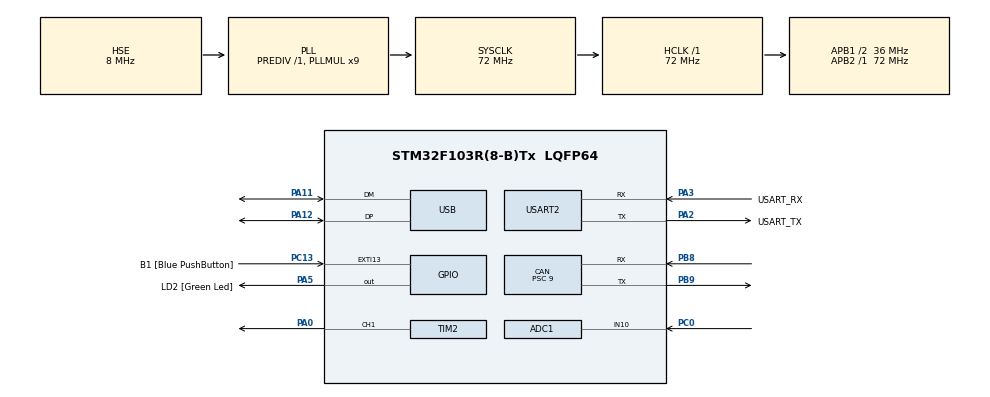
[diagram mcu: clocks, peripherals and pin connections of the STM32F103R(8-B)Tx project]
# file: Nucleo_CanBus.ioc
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ADC1.Channel-0\#ChannelRegularConversion=ADC_CHANNEL_10
ADC1.NbrOfConversion=1
ADC1.NbrOfConversionFlag=1
ADC1.Rank-0\#ChannelRegularConversion=1
ADC1.SamplingTime-0\#ChannelRegularConversion=ADC_SAMPLETIME_1CYCLE_5
ADC1.master=1
CAN.BS1=CAN_BS1_3TQ
CAN.BS2=CAN_BS2_4TQ
CAN.CalculateBaudRate=500000
CAN.CalculateTimeBit=2000.00
CAN.CalculateTimeQuantum=250.0
CAN.Prescaler=9
Mcu.Family=STM32F1
Mcu.Name=STM32F103R(8-B)Tx
Mcu.Package=LQFP64
NVIC.EXTI15_10_IRQn=true\:0\:0\:false\:false\:true\:true\:true
NVIC.PriorityGroup=NVIC_PRIORITYGROUP_4
NVIC.USART2_IRQn=true\:0\:0\:false\:false\:true\:true\:true
NVIC.USB_LP_CAN1_RX0_IRQn=true\:0\:0\:false\:false\:true\:false\:true
PA0-WKUP.Signal=S_TIM2_CH1_ETR
PA11.Mode=Device
PA11.Signal=USB_DM
PA12.Mode=Device
PA12.Signal=USB_DP
PA13.GPIO_Label=TMS
PA13.Mode=Serial_Wire
PA13.Signal=SYS_JTMS-SWDIO
PA14.GPIO_Label=TCK
PA14.Mode=Serial_Wire
PA14.Signal=SYS_JTCK-SWCLK
PA2.GPIO_Label=USART_TX
PA2.GPIO_Mode=GPIO_MODE_AF_PP
PA2.GPIO_PuPd=GPIO_NOPULL
PA2.GPIO_Speed=GPIO_SPEED_FREQ_LOW
PA2.Mode=Asynchronous
PA2.Signal=USART2_TX
PA3.GPIO_Label=USART_RX
PA3.GPIO_Mode=GPIO_MODE_AF_PP
PA3.GPIO_PuPd=GPIO_NOPULL
PA3.GPIO_Speed=GPIO_SPEED_FREQ_LOW
PA3.Mode=Asynchronous
PA3.Signal=USART2_RX
PA5.GPIO_Label=LD2 [Green Led]
PA5.GPIO_ModeDefaultOutputPP=GPIO_MODE_OUTPUT_PP
PA5.GPIO_PuPd=GPIO_NOPULL
PA5.GPIO_Speed=GPIO_SPEED_FREQ_LOW
PA5.Signal=GPIO_Output
PB3.GPIO_Label=SWO
PB3.Signal=SYS_JTDO-TRACESWO
PB8.Mode=CAN_Activate
PB8.Signal=CAN_RX
PB9.Mode=CAN_Activate
PB9.Signal=CAN_TX
PC0.Signal=ADCx_IN10
PC13-TAMPER-RTC.GPIO_Label=B1 [Blue PushButton]
PC13-TAMPER-RTC.GPIO_PuPd=GPIO_NOPULL
PC13-TAMPER-RTC.Signal=GPXTI13
PC14-OSC32_IN.Mode=LSE-External-Oscillator
PC14-OSC32_IN.Signal=RCC_OSC32_IN
PC15-OSC32_OUT.Mode=LSE-External-Oscillator
PC15-OSC32_OUT.Signal=RCC_OSC32_OUT
PD0-OSC_IN.Mode=HSE-External-Clock-Source
PD0-OSC_IN.Signal=RCC_OSC_IN
PD1-OSC_OUT.Mode=HSE-External-Clock-Source
PD1-OSC_OUT.Signal=RCC_OSC_OUT
ProjectManager.HeapSize=0x200
ProjectManager.StackSize=0x400
ProjectManager.TargetToolchain=STM32CubeIDE
RCC.ADCPresc=RCC_ADCPCLK2_DIV6
RCC.AHBFreq_Value=72000000
RCC.APB1CLKDivider=RCC_HCLK_DIV2
RCC.APB1Freq_Value=36000000
RCC.APB1TimFreq_Value=72000000
RCC.APB2Freq_Value=72000000
RCC.APB2TimFreq_Value=72000000
RCC.HCLKFreq_Value=72000000
RCC.PLLMUL=RCC_PLL_MUL9
RCC.RTCClockSelection=RCC_RTCCLKSOURCE_LSE
RCC.SYSCLKFreq_VALUE=72000000
RCC.SYSCLKSource=RCC_SYSCLKSOURCE_PLLCLK
RCC.USBFreq_Value=48000000
RCC.USBPrescaler=RCC_USBCLKSOURCE_PLL_DIV1_5
SH.ADCx_IN10.0=ADC1_IN10,IN10
SH.S_TIM2_CH1_ETR.0=TIM2_CH1,PWM Generation1 CH1
TIM2.AutoReloadPreload=TIM_AUTORELOAD_PRELOAD_ENABLE
TIM2.Channel-PWM\ Generation1\ CH1=TIM_CHANNEL_1
USART2.VirtualMode=VM_ASYNC
USB_DEVICE.CLASS_NAME_FS=CDC
USB_DEVICE.PRODUCT_STRING_CDC_FS=STM32 Virtual Port
USB_DEVICE.VirtualMode=Cdc
USB_DEVICE.VirtualModeFS=Cdc_FS
VP_TIM2_VS_ClockSourceINT.Mode=Internal
VP_USB_DEVICE_VS_USB_DEVICE_CDC_FS.Mode=CDC_FS
board=NUCLEO-F103RB

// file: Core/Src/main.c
/* USER CODE BEGIN Header */
/**
  ******************************************************************************
  * @file           : main.c
  * @brief          : Main program body
  ******************************************************************************
  * @attention
  *
  * <h2><center>&copy; Copyright (c) 2021 STMicroelectronics.
  * All rights reserved.</center></h2>
  *
  * This software component is licensed by ST under BSD 3-Clause license,
  * the "License"; You may not use this file except in compliance with the
  * License. You may obtain a copy of the License at:
  *                        opensource.org/licenses/BSD-3-Clause
  *
  ******************************************************************************
  */
/* USER CODE END Header */
#include "main.h"
#include "usb_device.h"

/* USER CODE BEGIN Includes */
#include "string.h"
#include "Read_adc.h"
/* USER CODE END Includes */

ADC_HandleTypeDef hadc1;

CAN_HandleTypeDef hcan;

TIM_HandleTypeDef htim2;

UART_HandleTypeDef huart2;

/* USER CODE BEGIN PV */
CAN_RxHeaderTypeDef rxHeader; //CAN Bus Transmit Header
CAN_TxHeaderTypeDef txHeader; //CAN Bus Receive Header
uint8_t canRX[8] = {0,0,0,0,0,0,0,0};  //CAN Bus Receive Buffer
CAN_FilterTypeDef canfil; //CAN Bus Filter
uint32_t canMailbox; //CAN Bus Mail box variable

uint8_t csend[8] = {0,0,0,0,0,0,0,0};
//Genel Değişkenler
uint8_t stateofinput[7]; //Buton başlangıç durumları
uint8_t status_signal=0;
//Serial port için gerekli değişkenler..
static char* bilgi="Mosfet Aktif=1----Mosfet Pasif=0\n";
static char* bilgi1="RightSin|LefttSin|KisaFarr|FlashMod|AngelFar|TavanFar\n";
char bilgi2[6][9];
static char* satir_sonu="\n";

/* USER CODE END PV */

void SystemClock_Config(void);
static void MX_GPIO_Init(void);
static void MX_USART2_UART_Init(void);
static void MX_ADC1_Init(void);
static void MX_TIM2_Init(void);
static void MX_CAN_Init(void);
/* USER CODE BEGIN PFP */
void serial_port_yaz(void);
/* USER CODE END PFP */

int main(void)
{

  /* MCU Configuration--------------------------------------------------------*/

  /* Reset of all peripherals, Initializes the Flash interface and the Systick. */
  HAL_Init();

  /* Configure the system clock */
  SystemClock_Config();

  /* Initialize all configured peripherals */
  MX_GPIO_Init();
  MX_USART2_UART_Init();
  MX_USB_DEVICE_Init();
  MX_ADC1_Init();
  MX_TIM2_Init();
  MX_CAN_Init();
  /* USER CODE BEGIN 2 */
  extern uint8_t RX2_Char;
  HAL_TIM_PWM_Start(&htim2, TIM_CHANNEL_1);
  HAL_UART_Receive_IT(&huart2, &RX2_Char, 1);

  /////////////////////CanBus Filter/////////
  canfil.FilterBank = 0;
  canfil.FilterMode = CAN_FILTERMODE_IDMASK;
  canfil.FilterFIFOAssignment = CAN_RX_FIFO0;
  canfil.FilterIdHigh = 0x030 << 5; //Datasheete göre hep 5 bit ötele
  canfil.FilterIdLow = 0;
  canfil.FilterMaskIdHigh = 0xFFFF; // Her bir biti tek tek kontrol et
  canfil.FilterMaskIdLow = 0;
  canfil.FilterScale = CAN_FILTERSCALE_32BIT; //CAN_FILTERSCALE_16BIT;
  canfil.FilterActivation = ENABLE;
  canfil.SlaveStartFilterBank = 14;
  //////////The device ID////////////////////
  txHeader.DLC = 8; // Number of bites to be transmitted max- 8
  txHeader.IDE = CAN_ID_STD;
  txHeader.RTR = CAN_RTR_DATA;
  txHeader.StdId = 0x0155;
  txHeader.ExtId = 0x02;
  txHeader.TransmitGlobalTime = DISABLE;
  //////////initialize CAN Bus //////////////
  HAL_CAN_ConfigFilter(&hcan,&canfil); //Initialize CAN Filter
  HAL_CAN_Start(&hcan); //Initialize CAN Bus
  HAL_CAN_ActivateNotification(&hcan,CAN_IT_RX_FIFO0_MSG_PENDING);// Initialize CAN Bus Rx Interrupt

  uint8_t csend[] = {0x01,0x02,0x03,0x04,0x05,0x06,0x07,0x08}; // Tx Buffer

  /* USER CODE END 2 */

  /* Infinite loop */
  /* USER CODE BEGIN WHILE */
  while (1)
  {
	  serial_port_yaz();
	  HAL_Delay(1000);
//	  if(!HAL_GPIO_ReadPin(B1_GPIO_Port, B1_Pin)){
//		  HAL_Delay(200);
//		  HAL_CAN_AddTxMessage(&hcan,&txHeader,csend,&canMailbox); // Send Message
//
//	  }

    /* USER CODE END WHILE */

  }
}

void SystemClock_Config(void)
{
  RCC_OscInitTypeDef RCC_OscInitStruct = {0};
  RCC_ClkInitTypeDef RCC_ClkInitStruct = {0};
  RCC_PeriphCLKInitTypeDef PeriphClkInit = {0};

  /** Initializes the RCC Oscillators according to the specified parameters
  * in the RCC_OscInitTypeDef structure.
  */
  RCC_OscInitStruct.OscillatorType = RCC_OSCILLATORTYPE_HSE;
  RCC_OscInitStruct.HSEState = RCC_HSE_BYPASS;
  RCC_OscInitStruct.HSEPredivValue = RCC_HSE_PREDIV_DIV1;
  RCC_OscInitStruct.HSIState = RCC_HSI_ON;
  RCC_OscInitStruct.PLL.PLLState = RCC_PLL_ON;
  RCC_OscInitStruct.PLL.PLLSource = RCC_PLLSOURCE_HSE;
  RCC_OscInitStruct.PLL.PLLMUL = RCC_PLL_MUL9;
  if (HAL_RCC_OscConfig(&RCC_OscInitStruct) != HAL_OK)
  {
    Error_Handler();
  }
  /** Initializes the CPU, AHB and APB buses clocks
  */
  RCC_ClkInitStruct.ClockType = RCC_CLOCKTYPE_HCLK|RCC_CLOCKTYPE_SYSCLK
                              |RCC_CLOCKTYPE_PCLK1|RCC_CLOCKTYPE_PCLK2;
  RCC_ClkInitStruct.SYSCLKSource = RCC_SYSCLKSOURCE_PLLCLK;
  RCC_ClkInitStruct.AHBCLKDivider = RCC_SYSCLK_DIV1;
  RCC_ClkInitStruct.APB1CLKDivider = RCC_HCLK_DIV2;
  RCC_ClkInitStruct.APB2CLKDivider = RCC_HCLK_DIV1;

  if (HAL_RCC_ClockConfig(&RCC_ClkInitStruct, FLASH_LATENCY_2) != HAL_OK)
  {
    Error_Handler();
  }
  PeriphClkInit.PeriphClockSelection = RCC_PERIPHCLK_ADC|RCC_PERIPHCLK_USB;
  PeriphClkInit.AdcClockSelection = RCC_ADCPCLK2_DIV6;
  PeriphClkInit.UsbClockSelection = RCC_USBCLKSOURCE_PLL_DIV1_5;
  if (HAL_RCCEx_PeriphCLKConfig(&PeriphClkInit) != HAL_OK)
  {
    Error_Handler();
  }
}

static void MX_ADC1_Init(void)
{

  ADC_ChannelConfTypeDef sConfig = {0};

  /** Common config
  */
  hadc1.Instance = ADC1;
  hadc1.Init.ScanConvMode = ADC_SCAN_DISABLE;
  hadc1.Init.ContinuousConvMode = DISABLE;
  hadc1.Init.DiscontinuousConvMode = DISABLE;
  hadc1.Init.ExternalTrigConv = ADC_SOFTWARE_START;
  hadc1.Init.DataAlign = ADC_DATAALIGN_RIGHT;
  hadc1.Init.NbrOfConversion = 1;
  if (HAL_ADC_Init(&hadc1) != HAL_OK)
  {
    Error_Handler();
  }
  /** Configure Regular Channel
  */
  sConfig.Channel = ADC_CHANNEL_10;
  sConfig.Rank = ADC_REGULAR_RANK_1;
  sConfig.SamplingTime = ADC_SAMPLETIME_1CYCLE_5;
  if (HAL_ADC_ConfigChannel(&hadc1, &sConfig) != HAL_OK)
  {
    Error_Handler();
  }

}

static void MX_CAN_Init(void)
{

  hcan.Instance = CAN1;
  hcan.Init.Prescaler = 9;
  hcan.Init.Mode = CAN_MODE_NORMAL;
  hcan.Init.SyncJumpWidth = CAN_SJW_1TQ;
  hcan.Init.TimeSeg1 = CAN_BS1_3TQ;
  hcan.Init.TimeSeg2 = CAN_BS2_4TQ;
  hcan.Init.TimeTriggeredMode = DISABLE;
  hcan.Init.AutoBusOff = DISABLE;
  hcan.Init.AutoWakeUp = DISABLE;
  hcan.Init.AutoRetransmission = DISABLE;
  hcan.Init.ReceiveFifoLocked = DISABLE;
  hcan.Init.TransmitFifoPriority = DISABLE;
  if (HAL_CAN_Init(&hcan) != HAL_OK)
  {
    Error_Handler();
  }

}

static void MX_TIM2_Init(void)
{

  TIM_ClockConfigTypeDef sClockSourceConfig = {0};
  TIM_MasterConfigTypeDef sMasterConfig = {0};
  TIM_OC_InitTypeDef sConfigOC = {0};

  htim2.Instance = TIM2;
  htim2.Init.Prescaler = 0;
  htim2.Init.CounterMode = TIM_COUNTERMODE_UP;
  htim2.Init.Period = 65535;
  htim2.Init.ClockDivision = TIM_CLOCKDIVISION_DIV1;
  htim2.Init.AutoReloadPreload = TIM_AUTORELOAD_PRELOAD_ENABLE;
  if (HAL_TIM_Base_Init(&htim2) != HAL_OK)
  {
    Error_Handler();
  }
  sClockSourceConfig.ClockSource = TIM_CLOCKSOURCE_INTERNAL;
  if (HAL_TIM_ConfigClockSource(&htim2, &sClockSourceConfig) != HAL_OK)
  {
    Error_Handler();
  }
  if (HAL_TIM_PWM_Init(&htim2) != HAL_OK)
  {
    Error_Handler();
  }
  sMasterConfig.MasterOutputTrigger = TIM_TRGO_RESET;
  sMasterConfig.MasterSlaveMode = TIM_MASTERSLAVEMODE_DISABLE;
  if (HAL_TIMEx_MasterConfigSynchronization(&htim2, &sMasterConfig) != HAL_OK)
  {
    Error_Handler();
  }
  sConfigOC.OCMode = TIM_OCMODE_PWM1;
  sConfigOC.Pulse = 0;
  sConfigOC.OCPolarity = TIM_OCPOLARITY_HIGH;
  sConfigOC.OCFastMode = TIM_OCFAST_DISABLE;
  if (HAL_TIM_PWM_ConfigChannel(&htim2, &sConfigOC, TIM_CHANNEL_1) != HAL_OK)
  {
    Error_Handler();
  }
  HAL_TIM_MspPostInit(&htim2);

}

static void MX_USART2_UART_Init(void)
{

  huart2.Instance = USART2;
  huart2.Init.BaudRate = 115200;
  huart2.Init.WordLength = UART_WORDLENGTH_8B;
  huart2.Init.StopBits = UART_STOPBITS_1;
  huart2.Init.Parity = UART_PARITY_NONE;
  huart2.Init.Mode = UART_MODE_TX_RX;
  huart2.Init.HwFlowCtl = UART_HWCONTROL_NONE;
  huart2.Init.OverSampling = UART_OVERSAMPLING_16;
  if (HAL_UART_Init(&huart2) != HAL_OK)
  {
    Error_Handler();
  }

}

static void MX_GPIO_Init(void)
{
  GPIO_InitTypeDef GPIO_InitStruct = {0};

  /* GPIO Ports Clock Enable */
  __HAL_RCC_GPIOC_CLK_ENABLE();
  __HAL_RCC_GPIOD_CLK_ENABLE();
  __HAL_RCC_GPIOA_CLK_ENABLE();
  __HAL_RCC_GPIOB_CLK_ENABLE();

  /*Configure GPIO pin Output Level */
  HAL_GPIO_WritePin(LD2_GPIO_Port, LD2_Pin, GPIO_PIN_RESET);

  /*Configure GPIO pin : B1_Pin */
  GPIO_InitStruct.Pin = B1_Pin;
  GPIO_InitStruct.Mode = GPIO_MODE_IT_RISING;
  GPIO_InitStruct.Pull = GPIO_NOPULL;
  HAL_GPIO_Init(B1_GPIO_Port, &GPIO_InitStruct);

  /*Configure GPIO pin : LD2_Pin */
  GPIO_InitStruct.Pin = LD2_Pin;
  GPIO_InitStruct.Mode = GPIO_MODE_OUTPUT_PP;
  GPIO_InitStruct.Pull = GPIO_NOPULL;
  GPIO_InitStruct.Speed = GPIO_SPEED_FREQ_LOW;
  HAL_GPIO_Init(LD2_GPIO_Port, &GPIO_InitStruct);

  /* EXTI interrupt init*/
  HAL_NVIC_SetPriority(EXTI15_10_IRQn, 0, 0);
  HAL_NVIC_EnableIRQ(EXTI15_10_IRQn);

}

/* USER CODE BEGIN 4 */

//Serial porta yazma işlemi yapılır...
void serial_port_yaz(void){

	for (int i = 0; i < 6; i++) {
		for (int j = 0; j < 1; j++) {
			bilgi2[i][j] =' ';
			bilgi2[i][j + 1] = ' ';
			bilgi2[i][j + 2] = ' ';
			bilgi2[i][j + 3] = ' ';
			if (!stateofinput[i]) {
				bilgi2[i][j + 4] = '1';
			} else {
				bilgi2[i][j + 4] = '0';
			}
			bilgi2[i][j + 5] = ' ';
			bilgi2[i][j + 6] = ' ';
			bilgi2[i][j + 7] = ' ';
			bilgi2[i][j + 8] = ' ';
		}

	}
	HAL_UART_Transmit(&huart2, (uint8_t*)bilgi, 33, 100);
	HAL_UART_Transmit(&huart2, (uint8_t*)bilgi1, 54, 100);
	for (int k=0;k<6;k++){
		HAL_UART_Transmit(&huart2, (uint8_t*)bilgi2[k], 9, 100);
	}
	HAL_UART_Transmit(&huart2, (uint8_t*)satir_sonu, 1, 100);
}

void HAL_CAN_RxFifo0MsgPendingCallback(CAN_HandleTypeDef *hcan)
{
	HAL_CAN_GetRxMessage(hcan, CAN_RX_FIFO0, &rxHeader, stateofinput);
	HAL_GPIO_TogglePin(LD2_GPIO_Port, LD2_Pin);

}

/* USER CODE END 4 */

void Error_Handler(void)
{
  __disable_irq();
  while (1)
  {
  }
}

/************************ (C) COPYRIGHT STMicroelectronics *****END OF FILE****/
